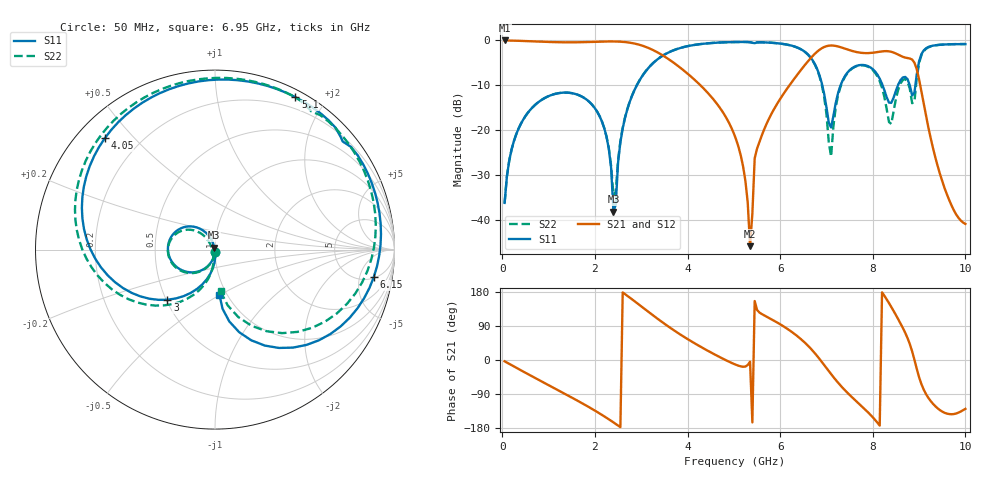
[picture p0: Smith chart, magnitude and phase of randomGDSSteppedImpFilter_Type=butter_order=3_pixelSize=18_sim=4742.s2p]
! freq	dB(S11)	phase(S11)	dB(S12)	phase(S12)
!  dB(S21)	phase(S21)	dB(S22)	phase(S22)
!S-par simulation data
#  GHz  S  DB  R 50
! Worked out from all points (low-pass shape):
!   200 points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, 50 MHz to 10 GHz, reference 50 ohm
!   highest |S21| = -0.01 dB at 50 MHz (marker M1); lowest = -45.8 dB at 5.35 GHz (marker M2)
!   |S21| within 3 dB of the highest: start of sweep to 3.411 GHz; 6.746 GHz to 8.517 GHz (1.771 GHz wide, 23.2 % of centre)
!   lowest |S11| = -38.1 dB at 2.4 GHz (marker M3), VSWR 1.03, Z = 49.5 + j1.13 ohm
!   |S11| at or under -10 dB: start of sweep to 2.905 GHz; 6.909 GHz to 7.304 GHz (395.1 MHz wide, 5.56 % of centre); 8.211 GHz to 8.544 GHz (332.3 MHz wide, 3.97 % of centre) (the widest 3 of 4)
!   |S22| runs from -36.2 to -0.3 dB; largest |S21 - S12| = 0
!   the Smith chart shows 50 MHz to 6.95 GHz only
!   S11 on the Smith chart (normalised r, x): 50 MHz: 1.00, -0.03; 3 GHz: 0.51, -0.33; 4.05 GHz: 0.08, +0.41; 5.1 GHz: 0.08, +1.65; 6.15 GHz: 5.22, -8.30; 6.95 GHz: 0.92, -0.50
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0.05  -36.18 -92.6  -0.01 -3.4  -0.01 -3.4  -36.18 -92.4
0.55  -16.13 -128.1  -0.16 -37.0  -0.16 -37.0  -16.13 -126.6
1.75  -12.69 151.2  -0.39 -115.9  -0.39 -115.9  -12.69 157.1
2.25  -21.42 114.2  -0.24 -152.5  -0.24 -152.5  -21.36 127.4
2.4  -38.11 112.9  -0.23 -164.6  -0.23 -164.6  -34.57 158.1
2.6  -19.58 -96.5  -0.32 178.4  -0.32 178.4  -19.45 -97.7
3  -8.29 -133.5  -1.09 141.7  -1.09 141.7  -8.27 -128.1
3.4  -3.84 -171.1  -2.94 104.6  -2.94 104.6  -3.82 -163.3
4.05  -1.18 134.7  -7.83 51.6  -7.83 51.6  -1.17 145.5
5.05  -0.36 65.5  -22.09 -12.8  -22.09 -12.8  -0.35 79.7
5.1  -0.35 62.2  -23.70 -15.0  -23.70 -15.0  -0.35 76.6
5.35  -0.40 45.3  -45.81 -4.3  -45.81 -4.3  -0.38 60.3
5.45  -0.61 40.3  -26.25 155.6  -26.25 155.6  -0.55 55.0
6.15  -0.94 -9.9  -10.74 82.7  -10.74 82.7  -0.94 4.9
6.7  -4.40 -62.6  -3.49 24.9  -3.49 24.9  -4.48 -51.2
6.95  -11.89 -84.4  -1.47 -13.1  -1.47 -13.1  -12.57 -82.4
7.1  -19.38 -29.9  -1.13 -37.2  -1.13 -37.2  -25.88 0.8
7.5  -6.64 -14.9  -2.18 -92.1  -2.18 -92.1  -6.73 4.8
8.35  -13.84 -55.4  -2.43 150.3  -2.43 150.3  -18.17 -48.5
8.85  -12.26 -33.8  -4.27 22.8  -4.27 22.8  -13.97 -16.9
9.2  -1.47 -33.5  -19.37 -99.8  -19.37 -99.8  -1.55 -10.8
10  -0.83 -83.4  -40.86 -129.0  -40.86 -129.0  -0.79 -64.7
